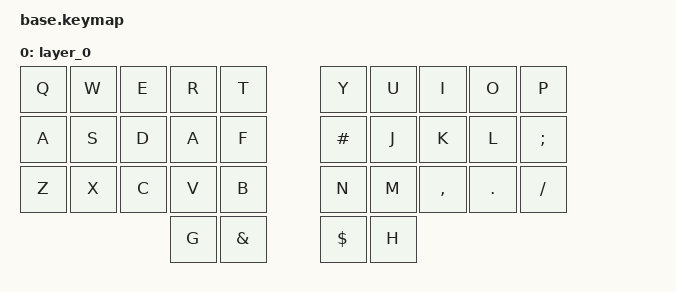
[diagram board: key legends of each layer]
/*
 * Copyright (c) 2021 The ZMK Contributors
 *
 * SPDX-License-Identifier: MIT
 */

#include <behaviors.dtsi>
#include <dt-bindings/zmk/keys.h>

/ {
    keymap {
        compatible = "zmk,keymap";

        layer_0 {
            bindings = <
&kp Q  &kp W  &kp E  &kp R  &kp T                    &kp Y    &kp U  &kp I      &kp O    &kp P
&kp A  &kp S  &kp D  &kp A  &kp F                    &kp HASH    &kp J  &kp K      &kp L    &kp SEMI
&kp Z  &kp X  &kp C  &kp V  &kp B                    &kp N    &kp M  &kp COMMA  &kp DOT  &kp FSLH
                            &kp G    &kp AMPS    &kp DOLLAR  &kp H
            >;
        };
    };
};
